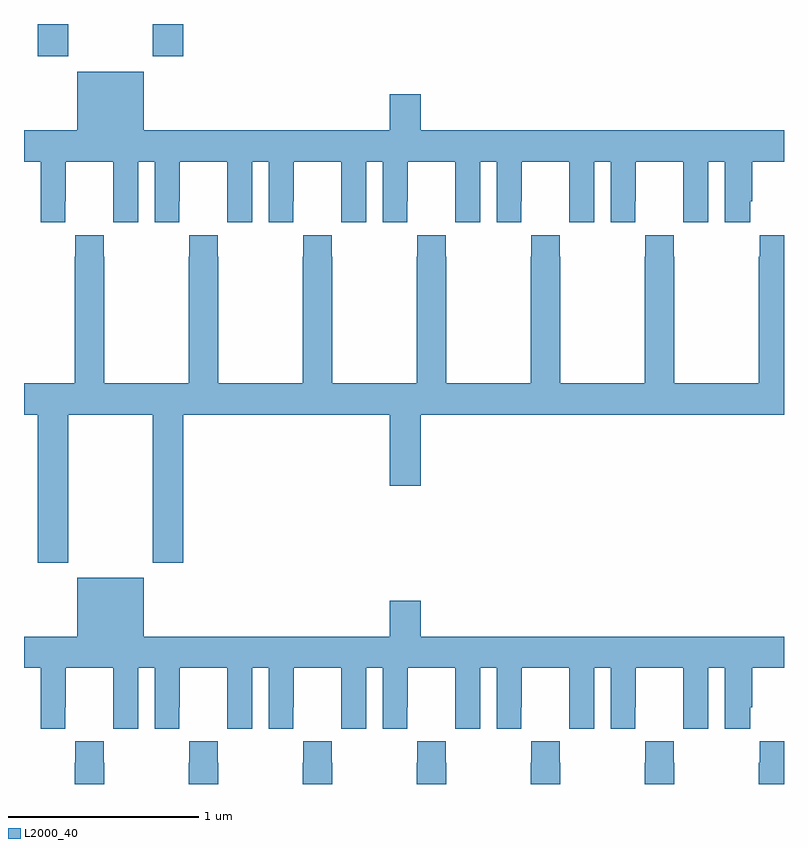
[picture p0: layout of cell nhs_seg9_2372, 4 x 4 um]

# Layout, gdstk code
import gdstk
lib = gdstk.Library(unit=1e-6, precision=1e-09)
def R(c, l, rs):  # rectangles x0, y0, x1, y1
    for r in rs: c.add(gdstk.rectangle(r[:2], r[2:], *l))
def P(c, l, *ps):  # polygons
    for p in ps: c.add(gdstk.Polygon(p, *l))
L2000_40 = (2000, 40)

nhs_seg9_2372 = lib.new_cell('nhs_seg9_2372')
R(nhs_seg9_2372, L2000_40, [(247.073,1174.329,247.233,1174.5), (247.678,1174.329,247.838,1174.5)])
P(nhs_seg9_2372, L2000_40, [(247.688,1173.456),(247.818,1173.456),(247.818,1173.568),(247.819,1173.568),(247.819,1173.776),(248.069,1173.776),(248.069,1173.568),(248.07,1173.568),(248.07,1173.456),(248.2,1173.456),(248.2,1173.776),(248.288,1173.776),(248.288,1173.456),(248.418,1173.456),(248.418,1173.568),(248.419,1173.568),(248.419,1173.776),(248.669,1173.776),(248.669,1173.568),(248.67,1173.568),(248.67,1173.456),(248.8,1173.456),(248.8,1173.776),(248.888,1173.776),(248.888,1173.456),(249.018,1173.456),(249.018,1173.568),(249.019,1173.568),(249.019,1173.776),(249.269,1173.776),(249.269,1173.568),(249.27,1173.568),(249.27,1173.456),(249.4,1173.456),(249.4,1173.776),(249.488,1173.776),(249.488,1173.456),(249.618,1173.456),(249.618,1173.568),(249.619,1173.568),(249.619,1173.776),(249.869,1173.776),(249.869,1173.568),(249.87,1173.568),(249.87,1173.456),(250,1173.456),(250,1173.776),(250.088,1173.776),(250.088,1173.456),(250.218,1173.456),(250.218,1173.568),(250.219,1173.568),(250.219,1173.776),(250.469,1173.776),(250.469,1173.568),(250.47,1173.568),(250.47,1173.456),(250.6,1173.456),(250.6,1173.776),(250.688,1173.776),(250.688,1173.456),(250.822,1173.456),(250.822,1173.568),(250.832,1173.568),(250.832,1173.776),(251,1173.776),(251,1173.94),(249.088,1173.94),(249.088,1174.129),(248.924,1174.129),(248.924,1173.94),(247.63,1173.94),(247.63,1174.249),(247.28,1174.249),(247.28,1173.94),(247,1173.94),(247,1173.776),(247.088,1173.776),(247.088,1173.456),(247.218,1173.456),(247.218,1173.568),(247.219,1173.568),(247.219,1173.776),(247.469,1173.776),(247.469,1173.568),(247.47,1173.568),(247.47,1173.456),(247.6,1173.456),(247.6,1173.776),(247.688,1173.776)],
  [(251,1173.388),(250.873,1173.388),(250.873,1173.275),(250.867,1173.275),(250.867,1172.608),(250.422,1172.608),(250.422,1173.275),(250.419,1173.275),(250.419,1173.388),(250.269,1173.388),(250.269,1173.275),(250.267,1173.275),(250.267,1172.608),(249.822,1172.608),(249.822,1173.275),(249.819,1173.275),(249.819,1173.388),(249.669,1173.388),(249.669,1173.275),(249.667,1173.275),(249.667,1172.608),(249.222,1172.608),(249.222,1173.275),(249.219,1173.275),(249.219,1173.388),(249.069,1173.388),(249.069,1173.275),(249.067,1173.275),(249.067,1172.608),(248.622,1172.608),(248.622,1173.275),(248.619,1173.275),(248.619,1173.388),(248.469,1173.388),(248.469,1173.275),(248.467,1173.275),(248.467,1172.608),(248.022,1172.608),(248.022,1173.275),(248.019,1173.275),(248.019,1173.388),(247.869,1173.388),(247.869,1173.275),(247.867,1173.275),(247.867,1172.608),(247.422,1172.608),(247.422,1173.275),(247.419,1173.275),(247.419,1173.388),(247.269,1173.388),(247.269,1173.275),(247.267,1173.275),(247.267,1172.608),(247,1172.608),(247,1172.444),(247.073,1172.444),(247.073,1171.665),(247.233,1171.665),(247.233,1172.444),(247.678,1172.444),(247.678,1171.665),(247.838,1171.665),(247.838,1172.444),(248.924,1172.444),(248.924,1172.07),(249.088,1172.07),(249.088,1172.444),(251,1172.444)],
  [(247.218,1170.904),(247.219,1170.904),(247.219,1171.112),(247.469,1171.112),(247.469,1170.904),(247.47,1170.904),(247.47,1170.792),(247.6,1170.792),(247.6,1171.112),(247.688,1171.112),(247.688,1170.792),(247.818,1170.792),(247.818,1170.904),(247.819,1170.904),(247.819,1171.112),(248.069,1171.112),(248.069,1170.904),(248.07,1170.904),(248.07,1170.792),(248.2,1170.792),(248.2,1171.112),(248.288,1171.112),(248.288,1170.792),(248.418,1170.792),(248.418,1170.904),(248.419,1170.904),(248.419,1171.112),(248.669,1171.112),(248.669,1170.904),(248.67,1170.904),(248.67,1170.792),(248.8,1170.792),(248.8,1171.112),(248.888,1171.112),(248.888,1170.792),(249.018,1170.792),(249.018,1170.904),(249.019,1170.904),(249.019,1171.112),(249.269,1171.112),(249.269,1170.904),(249.27,1170.904),(249.27,1170.792),(249.4,1170.792),(249.4,1171.112),(249.488,1171.112),(249.488,1170.792),(249.618,1170.792),(249.618,1170.904),(249.619,1170.904),(249.619,1171.112),(249.869,1171.112),(249.869,1170.904),(249.87,1170.904),(249.87,1170.792),(250,1170.792),(250,1171.112),(250.088,1171.112),(250.088,1170.792),(250.218,1170.792),(250.218,1170.904),(250.219,1170.904),(250.219,1171.112),(250.469,1171.112),(250.469,1170.904),(250.47,1170.904),(250.47,1170.792),(250.6,1170.792),(250.6,1171.112),(250.688,1171.112),(250.688,1170.792),(250.822,1170.792),(250.822,1170.904),(250.832,1170.904),(250.832,1171.112),(251,1171.112),(251,1171.276),(249.088,1171.276),(249.088,1171.465),(248.924,1171.465),(248.924,1171.276),(247.63,1171.276),(247.63,1171.585),(247.28,1171.585),(247.28,1171.276),(247,1171.276),(247,1171.112),(247.088,1171.112),(247.088,1170.792),(247.218,1170.792)],
  [(247.422,1170.611),(247.419,1170.611),(247.419,1170.724),(247.269,1170.724),(247.269,1170.611),(247.267,1170.611),(247.267,1170.5),(247.422,1170.5)],
  [(248.022,1170.611),(248.019,1170.611),(248.019,1170.724),(247.869,1170.724),(247.869,1170.611),(247.867,1170.611),(247.867,1170.5),(248.022,1170.5)],
  [(248.622,1170.611),(248.619,1170.611),(248.619,1170.724),(248.469,1170.724),(248.469,1170.611),(248.467,1170.611),(248.467,1170.5),(248.622,1170.5)],
  [(249.222,1170.611),(249.219,1170.611),(249.219,1170.724),(249.069,1170.724),(249.069,1170.611),(249.067,1170.611),(249.067,1170.5),(249.222,1170.5)],
  [(249.822,1170.611),(249.819,1170.611),(249.819,1170.724),(249.669,1170.724),(249.669,1170.611),(249.667,1170.611),(249.667,1170.5),(249.822,1170.5)],
  [(250.422,1170.611),(250.419,1170.611),(250.419,1170.724),(250.269,1170.724),(250.269,1170.611),(250.267,1170.611),(250.267,1170.5),(250.422,1170.5)],
  [(251,1170.724),(250.873,1170.724),(250.873,1170.611),(250.867,1170.611),(250.867,1170.5),(251,1170.5)])

lib.write_gds('nhs_seg9_2372.gds')
